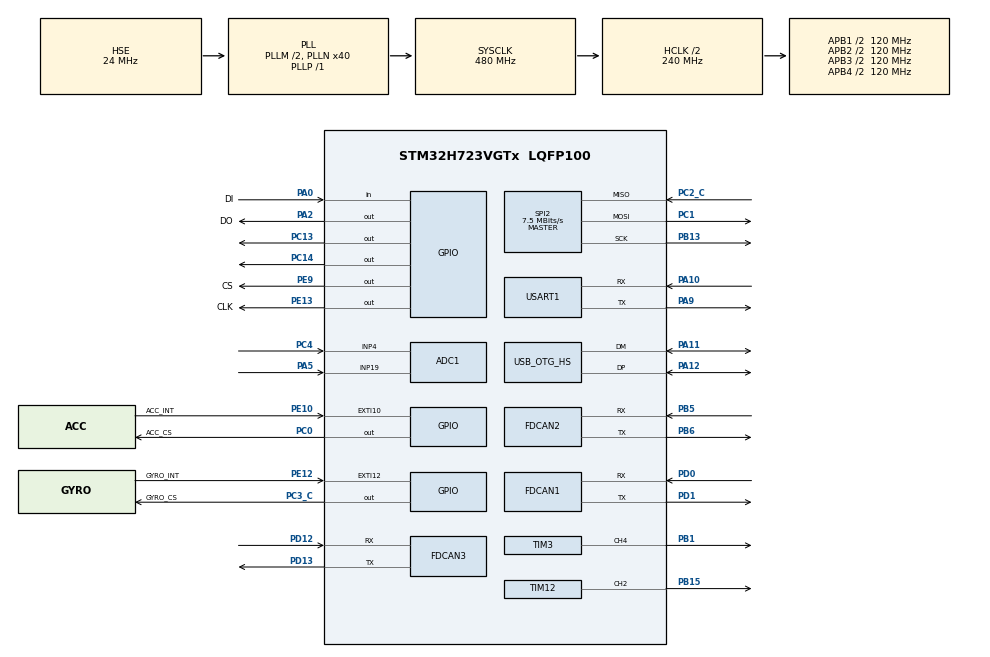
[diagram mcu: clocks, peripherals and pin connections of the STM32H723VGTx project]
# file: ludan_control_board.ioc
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ADC1.Channel-0\#ChannelRegularConversion=ADC_CHANNEL_19
ADC1.Channel-1\#ChannelRegularConversion=ADC_CHANNEL_4
ADC1.ClockPrescaler=ADC_CLOCK_ASYNC_DIV64
ADC1.ContinuousConvMode=ENABLE
ADC1.ConversionDataManagement=ADC_CONVERSIONDATA_DMA_CIRCULAR
ADC1.NbrOfConversion=2
ADC1.NbrOfConversionFlag=1
ADC1.OffsetNumber-0\#ChannelRegularConversion=ADC_OFFSET_NONE
ADC1.OffsetNumber-1\#ChannelRegularConversion=ADC_OFFSET_NONE
ADC1.OffsetSignedSaturation-0\#ChannelRegularConversion=DISABLE
ADC1.OffsetSignedSaturation-1\#ChannelRegularConversion=DISABLE
ADC1.Rank-0\#ChannelRegularConversion=1
ADC1.Rank-1\#ChannelRegularConversion=2
ADC1.SamplingTime-0\#ChannelRegularConversion=ADC_SAMPLETIME_1CYCLE_5
ADC1.SamplingTime-1\#ChannelRegularConversion=ADC_SAMPLETIME_1CYCLE_5
ADC1.master=1
Dma.ADC1.0.Direction=DMA_PERIPH_TO_MEMORY
Dma.ADC1.0.EventEnable=DISABLE
Dma.ADC1.0.FIFOMode=DMA_FIFOMODE_DISABLE
Dma.ADC1.0.Instance=DMA1_Stream4
Dma.ADC1.0.MemDataAlignment=DMA_MDATAALIGN_HALFWORD
Dma.ADC1.0.MemInc=DMA_MINC_ENABLE
Dma.ADC1.0.Mode=DMA_CIRCULAR
Dma.ADC1.0.PeriphDataAlignment=DMA_PDATAALIGN_HALFWORD
Dma.ADC1.0.PeriphInc=DMA_PINC_DISABLE
Dma.ADC1.0.Polarity=HAL_DMAMUX_REQ_GEN_RISING
Dma.ADC1.0.Priority=DMA_PRIORITY_LOW
Dma.ADC1.0.RequestNumber=1
Dma.ADC1.0.SignalID=NONE
Dma.ADC1.0.SyncEnable=DISABLE
Dma.ADC1.0.SyncPolarity=HAL_DMAMUX_SYNC_NO_EVENT
Dma.ADC1.0.SyncRequestNumber=1
Dma.ADC1.0.SyncSignalID=NONE
Dma.DMA_GENERATOR0.1.Direction=DMA_PERIPH_TO_MEMORY
Dma.DMA_GENERATOR0.1.EventEnable=DISABLE
Dma.DMA_GENERATOR0.1.FIFOMode=DMA_FIFOMODE_DISABLE
Dma.DMA_GENERATOR0.1.Instance=DMA1_Stream5
Dma.DMA_GENERATOR0.1.MemDataAlignment=DMA_MDATAALIGN_BYTE
Dma.DMA_GENERATOR0.1.MemInc=DMA_MINC_ENABLE
Dma.DMA_GENERATOR0.1.Mode=DMA_NORMAL
Dma.DMA_GENERATOR0.1.PeriphDataAlignment=DMA_PDATAALIGN_BYTE
Dma.DMA_GENERATOR0.1.PeriphInc=DMA_PINC_DISABLE
Dma.DMA_GENERATOR0.1.Polarity=HAL_DMAMUX_REQ_GEN_RISING
Dma.DMA_GENERATOR0.1.Priority=DMA_PRIORITY_VERY_HIGH
Dma.DMA_GENERATOR0.1.RequestNumber=1
Dma.DMA_GENERATOR0.1.SignalID=NONE
Dma.DMA_GENERATOR0.1.SyncEnable=DISABLE
Dma.DMA_GENERATOR0.1.SyncPolarity=HAL_DMAMUX_SYNC_NO_EVENT
Dma.DMA_GENERATOR0.1.SyncRequestNumber=1
Dma.DMA_GENERATOR0.1.SyncSignalID=NONE
Dma.Request0=ADC1
Dma.Request1=DMA_GENERATOR0
Dma.Request2=SPI2_RX
Dma.Request3=SPI2_TX
Dma.Request4=USART1_RX
Dma.Request5=USART1_TX
Dma.SPI2_RX.2.Direction=DMA_PERIPH_TO_MEMORY
Dma.SPI2_RX.2.EventEnable=DISABLE
Dma.SPI2_RX.2.FIFOMode=DMA_FIFOMODE_DISABLE
Dma.SPI2_RX.2.Instance=DMA1_Stream0
Dma.SPI2_RX.2.MemDataAlignment=DMA_MDATAALIGN_BYTE
Dma.SPI2_RX.2.MemInc=DMA_MINC_ENABLE
Dma.SPI2_RX.2.Mode=DMA_NORMAL
Dma.SPI2_RX.2.PeriphDataAlignment=DMA_PDATAALIGN_BYTE
Dma.SPI2_RX.2.PeriphInc=DMA_PINC_DISABLE
Dma.SPI2_RX.2.Polarity=HAL_DMAMUX_REQ_GEN_RISING
Dma.SPI2_RX.2.Priority=DMA_PRIORITY_VERY_HIGH
Dma.SPI2_RX.2.RequestNumber=1
Dma.SPI2_RX.2.SignalID=NONE
Dma.SPI2_RX.2.SyncEnable=DISABLE
Dma.SPI2_RX.2.SyncPolarity=HAL_DMAMUX_SYNC_NO_EVENT
Dma.SPI2_RX.2.SyncRequestNumber=1
Dma.SPI2_RX.2.SyncSignalID=NONE
Dma.SPI2_TX.3.Direction=DMA_MEMORY_TO_PERIPH
Dma.SPI2_TX.3.EventEnable=DISABLE
Dma.SPI2_TX.3.FIFOMode=DMA_FIFOMODE_DISABLE
Dma.SPI2_TX.3.Instance=DMA1_Stream1
Dma.SPI2_TX.3.MemDataAlignment=DMA_MDATAALIGN_BYTE
Dma.SPI2_TX.3.MemInc=DMA_MINC_ENABLE
Dma.SPI2_TX.3.Mode=DMA_NORMAL
Dma.SPI2_TX.3.PeriphDataAlignment=DMA_PDATAALIGN_BYTE
Dma.SPI2_TX.3.PeriphInc=DMA_PINC_DISABLE
Dma.SPI2_TX.3.Polarity=HAL_DMAMUX_REQ_GEN_RISING
Dma.SPI2_TX.3.Priority=DMA_PRIORITY_HIGH
Dma.SPI2_TX.3.RequestNumber=1
Dma.SPI2_TX.3.SignalID=NONE
Dma.SPI2_TX.3.SyncEnable=DISABLE
Dma.SPI2_TX.3.SyncPolarity=HAL_DMAMUX_SYNC_NO_EVENT
Dma.SPI2_TX.3.SyncRequestNumber=1
Dma.SPI2_TX.3.SyncSignalID=NONE
Dma.USART1_RX.4.Direction=DMA_PERIPH_TO_MEMORY
Dma.USART1_RX.4.EventEnable=DISABLE
Dma.USART1_RX.4.FIFOMode=DMA_FIFOMODE_DISABLE
Dma.USART1_RX.4.Instance=DMA1_Stream2
Dma.USART1_RX.4.MemDataAlignment=DMA_MDATAALIGN_BYTE
Dma.USART1_RX.4.MemInc=DMA_MINC_ENABLE
Dma.USART1_RX.4.Mode=DMA_NORMAL
Dma.USART1_RX.4.PeriphDataAlignment=DMA_PDATAALIGN_BYTE
Dma.USART1_RX.4.PeriphInc=DMA_PINC_DISABLE
Dma.USART1_RX.4.Polarity=HAL_DMAMUX_REQ_GEN_RISING
Dma.USART1_RX.4.Priority=DMA_PRIORITY_LOW
Dma.USART1_RX.4.RequestNumber=1
Dma.USART1_RX.4.SignalID=NONE
Dma.USART1_RX.4.SyncEnable=DISABLE
Dma.USART1_RX.4.SyncPolarity=HAL_DMAMUX_SYNC_NO_EVENT
Dma.USART1_RX.4.SyncRequestNumber=1
Dma.USART1_RX.4.SyncSignalID=NONE
Dma.USART1_TX.5.Direction=DMA_MEMORY_TO_PERIPH
Dma.USART1_TX.5.EventEnable=DISABLE
Dma.USART1_TX.5.FIFOMode=DMA_FIFOMODE_DISABLE
Dma.USART1_TX.5.Instance=DMA1_Stream3
Dma.USART1_TX.5.MemDataAlignment=DMA_MDATAALIGN_BYTE
Dma.USART1_TX.5.MemInc=DMA_MINC_ENABLE
Dma.USART1_TX.5.Mode=DMA_NORMAL
Dma.USART1_TX.5.PeriphDataAlignment=DMA_PDATAALIGN_BYTE
Dma.USART1_TX.5.PeriphInc=DMA_PINC_DISABLE
Dma.USART1_TX.5.Polarity=HAL_DMAMUX_REQ_GEN_RISING
Dma.USART1_TX.5.Priority=DMA_PRIORITY_LOW
Dma.USART1_TX.5.RequestNumber=1
Dma.USART1_TX.5.SignalID=NONE
Dma.USART1_TX.5.SyncEnable=DISABLE
Dma.USART1_TX.5.SyncPolarity=HAL_DMAMUX_SYNC_NO_EVENT
Dma.USART1_TX.5.SyncRequestNumber=1
Dma.USART1_TX.5.SyncSignalID=NONE
FDCAN1.AutoRetransmission=ENABLE
FDCAN1.CalculateBaudRateNominal=1000000
FDCAN1.CalculateTimeBitNominal=1000
FDCAN1.CalculateTimeQuantumNominal=12.5
FDCAN1.DataSyncJumpWidth=2
FDCAN1.DataTimeSeg1=13
FDCAN1.DataTimeSeg2=2
FDCAN1.ExtFiltersNbr=4
FDCAN1.FrameFormat=FDCAN_FRAME_FD_BRS
FDCAN1.NominalPrescaler=1
FDCAN1.NominalSyncJumpWidth=20
FDCAN1.NominalTimeSeg1=59
FDCAN1.NominalTimeSeg2=20
FDCAN1.ProtocolException=ENABLE
FDCAN1.RxFifo0ElmtsNbr=32
FDCAN1.StdFiltersNbr=4
FDCAN1.TxFifoQueueElmtsNbr=10
FDCAN2.AutoRetransmission=ENABLE
FDCAN2.CalculateBaudRateNominal=1000000
FDCAN2.CalculateTimeBitNominal=1000
FDCAN2.CalculateTimeQuantumNominal=12.5
FDCAN2.DataSyncJumpWidth=2
FDCAN2.DataTimeSeg1=13
FDCAN2.DataTimeSeg2=2
FDCAN2.ExtFiltersNbr=5
FDCAN2.FrameFormat=FDCAN_FRAME_FD_BRS
FDCAN2.MessageRAMOffset=854
FDCAN2.NominalPrescaler=1
FDCAN2.NominalSyncJumpWidth=20
FDCAN2.NominalTimeSeg1=59
FDCAN2.NominalTimeSeg2=20
FDCAN2.ProtocolException=ENABLE
FDCAN2.RxFifo1ElmtsNbr=32
FDCAN2.StdFiltersNbr=5
FDCAN2.TxFifoQueueElmtsNbr=10
FDCAN3.AutoRetransmission=ENABLE
FDCAN3.CalculateBaudRateNominal=1000000
FDCAN3.CalculateTimeBitNominal=1000
FDCAN3.CalculateTimeQuantumNominal=12.5
FDCAN3.DataSyncJumpWidth=2
FDCAN3.DataTimeSeg1=13
FDCAN3.DataTimeSeg2=2
FDCAN3.ExtFiltersNbr=5
FDCAN3.FrameFormat=FDCAN_FRAME_FD_BRS
FDCAN3.MessageRAMOffset=1709
FDCAN3.NominalPrescaler=1
FDCAN3.NominalSyncJumpWidth=20
FDCAN3.NominalTimeSeg1=59
FDCAN3.NominalTimeSeg2=20
FDCAN3.ProtocolException=ENABLE
FDCAN3.RxFifo0ElmtsNbr=10
FDCAN3.StdFiltersNbr=5
FDCAN3.TxFifoQueueElmtsNbr=12
FREERTOS.MEMORY_ALLOCATION=0
FREERTOS.Tasks01=defaultTask,24,512,StartDefaultTask,Default,NULL,Dynamic,NULL,NULL;FDCAN1_TASK,40,512,fdcan1_task,Default,NULL,Dynamic,NULL,NULL;OBSERVE_TASK,40,512,observe_task,Default,NULL,Dynamic,NULL,NULL;FDCAN2_TASK,40,512,fdcan2_task,Default,NULL,Dynamic,NULL,NULL;VBUS_CHECK_TASK,24,512,VBUS_CheckTask,Default,NULL,Dynamic,NULL,NULL;MOTOR_CMD_TASK,40,512,motor_cmd_task,Default,NULL,Dynamic,NULL,NULL
FREERTOS.configENABLE_FPU=1
FREERTOS.configTOTAL_HEAP_SIZE=30720
FREERTOS.configUSE_NEWLIB_REENTRANT=1
Mcu.Family=STM32H7
Mcu.Name=STM32H723VGTx
Mcu.Package=LQFP100
NVIC.DMA1_Stream0_IRQn=true\:5\:0\:false\:false\:true\:true\:false\:true\:true
NVIC.DMA1_Stream1_IRQn=true\:5\:0\:false\:false\:true\:true\:false\:true\:true
NVIC.DMA1_Stream2_IRQn=true\:5\:0\:false\:false\:true\:true\:false\:true\:true
NVIC.DMA1_Stream3_IRQn=true\:5\:0\:false\:false\:true\:true\:false\:true\:true
NVIC.DMA1_Stream4_IRQn=true\:5\:0\:false\:false\:true\:true\:false\:true\:true
NVIC.DMA1_Stream5_IRQn=true\:5\:0\:false\:false\:true\:true\:false\:true\:true
NVIC.DMAMUX1_OVR_IRQn=true\:5\:0\:false\:false\:true\:true\:false\:true\:true
NVIC.FDCAN1_IT0_IRQn=true\:5\:0\:true\:false\:true\:true\:true\:true\:true
NVIC.FDCAN2_IT0_IRQn=true\:5\:0\:false\:false\:true\:true\:true\:true\:true
NVIC.OTG_HS_IRQn=true\:5\:0\:false\:false\:true\:true\:true\:true\:true
NVIC.PriorityGroup=NVIC_PRIORITYGROUP_4
NVIC.SPI2_IRQn=true\:5\:0\:false\:false\:true\:true\:true\:true\:true
NVIC.TIM2_IRQn=true\:15\:0\:false\:false\:true\:false\:false\:true\:true
NVIC.TimeBase=TIM2_IRQn
NVIC.TimeBaseIP=TIM2
PA0.GPIO_Label=DI
PA0.GPIO_PuPd=GPIO_PULLUP
PA0.Signal=GPIO_Input
PA10.Mode=Asynchronous
PA10.Signal=USART1_RX
PA11.Mode=Device_Only_FS
PA11.Signal=USB_OTG_HS_DM
PA12.Mode=Device_Only_FS
PA12.Signal=USB_OTG_HS_DP
PA13(JTMS/SWDIO).Mode=Serial_Wire
PA13(JTMS/SWDIO).Signal=DEBUG_JTMS-SWDIO
PA14(JTCK/SWCLK).Mode=Serial_Wire
PA14(JTCK/SWCLK).Signal=DEBUG_JTCK-SWCLK
PA2.GPIO_Label=DO
PA2.GPIO_PuPd=GPIO_PULLUP
PA2.GPIO_Speed=GPIO_SPEED_FREQ_VERY_HIGH
PA2.PinState=GPIO_PIN_SET
PA2.Signal=GPIO_Output
PA5.Signal=ADCx_INP19
PA9.Mode=Asynchronous
PA9.Signal=USART1_TX
PB1.Signal=S_TIM3_CH4
PB13.GPIO_Speed=GPIO_SPEED_FREQ_VERY_HIGH
PB13.Mode=Full_Duplex_Master
PB13.Signal=SPI2_SCK
PB15.Signal=S_TIM12_CH2
PB5.Mode=FDCAN_Activate
PB5.Signal=FDCAN2_RX
PB6.Mode=FDCAN_Activate
PB6.Signal=FDCAN2_TX
PC0.GPIO_Label=ACC_CS
PC0.GPIO_Speed=GPIO_SPEED_FREQ_VERY_HIGH
PC0.PinState=GPIO_PIN_SET
PC0.Signal=GPIO_Output
PC1.GPIO_Speed=GPIO_SPEED_FREQ_VERY_HIGH
PC1.Mode=Full_Duplex_Master
PC1.Signal=SPI2_MOSI
PC13.Signal=GPIO_Output
PC14-OSC32_IN.Signal=GPIO_Output
PC2_C.GPIO_Speed=GPIO_SPEED_FREQ_VERY_HIGH
PC2_C.Mode=Full_Duplex_Master
PC2_C.Signal=SPI2_MISO
PC3_C.GPIO_Label=GYRO_CS
PC3_C.GPIO_Speed=GPIO_SPEED_FREQ_VERY_HIGH
PC3_C.PinState=GPIO_PIN_SET
PC3_C.Signal=GPIO_Output
PC4.Signal=ADCx_INP4
PD0.Mode=FDCAN_Activate
PD0.Signal=FDCAN1_RX
PD1.Mode=FDCAN_Activate
PD1.Signal=FDCAN1_TX
PD12.Mode=FDCAN_Activate
PD12.Signal=FDCAN3_RX
PD13.Mode=FDCAN_Activate
PD13.Signal=FDCAN3_TX
PE10.GPIO_Label=ACC_INT
PE10.Signal=GPXTI10
PE12.GPIO_Label=GYRO_INT
PE12.Signal=GPXTI12
PE13.GPIO_Label=CLK
PE13.GPIO_PuPd=GPIO_PULLUP
PE13.GPIO_Speed=GPIO_SPEED_FREQ_VERY_HIGH
PE13.PinState=GPIO_PIN_SET
PE13.Signal=GPIO_Output
PE9.GPIO_Label=CS
PE9.GPIO_PuPd=GPIO_PULLUP
PE9.GPIO_Speed=GPIO_SPEED_FREQ_VERY_HIGH
PE9.PinState=GPIO_PIN_SET
PE9.Signal=GPIO_Output
PH0-OSC_IN.Mode=HSE-External-Oscillator
PH0-OSC_IN.Signal=RCC_OSC_IN
PH1-OSC_OUT.Mode=HSE-External-Oscillator
PH1-OSC_OUT.Signal=RCC_OSC_OUT
ProjectManager.HeapSize=0x200
ProjectManager.StackSize=0x800
ProjectManager.TargetToolchain=Makefile
RCC.ADCCLockSelection=RCC_ADCCLKSOURCE_PLL3
RCC.ADCFreq_Value=100000000
RCC.APB1Freq_Value=120000000
RCC.APB2Freq_Value=120000000
RCC.APB3Freq_Value=120000000
RCC.APB4Freq_Value=120000000
RCC.CortexFreq_Value=480000000
RCC.D1PPRE=RCC_APB3_DIV2
RCC.D2PPRE1=RCC_APB1_DIV2
RCC.D2PPRE2=RCC_APB2_DIV2
RCC.D3PPRE=RCC_APB4_DIV2
RCC.DIVM1=2
RCC.DIVM2=2
RCC.DIVM3=2
RCC.DIVN1=40
RCC.DIVN2=40
RCC.DIVN3=25
RCC.DIVP1=1
RCC.DIVQ2=6
RCC.DIVQ3=1
RCC.DIVR3=3
RCC.FDCANCLockSelection=RCC_FDCANCLKSOURCE_PLL2
RCC.HCLKFreq_Value=240000000
RCC.HPRE=RCC_HCLK_DIV2
RCC.HSE_VALUE=24000000
RCC.PLL2FRACN=0
RCC.PLL3FRACN=0
RCC.PLLFRACN=0
RCC.PLLSourceVirtual=RCC_PLLSOURCE_HSE
RCC.SYSCLKFreq_VALUE=480000000
RCC.SYSCLKSource=RCC_SYSCLKSOURCE_PLLCLK
RCC.USBCLockSelection=RCC_USBCLKSOURCE_HSI48
RCC.USBFreq_Value=48000000
SH.ADCx_INP19.0=ADC1_INP19,IN19-Single-Ended
SH.ADCx_INP4.0=ADC1_INP4,IN4-Single-Ended
SH.S_TIM12_CH2.0=TIM12_CH2,PWM Generation2 CH2
SH.S_TIM3_CH4.0=TIM3_CH4,PWM Generation4 CH4
SPI2.BaudRatePrescaler=SPI_BAUDRATEPRESCALER_32
SPI2.CLKPhase=SPI_PHASE_2EDGE
SPI2.CLKPolarity=SPI_POLARITY_HIGH
SPI2.CalculateBaudRate=7.5 MBits/s
SPI2.DataSize=SPI_DATASIZE_8BIT
SPI2.Direction=SPI_DIRECTION_2LINES
SPI2.Mode=SPI_MODE_MASTER
SPI2.VirtualType=VM_MASTER
TIM12.Channel-PWM\ Generation2\ CH2=TIM_CHANNEL_2
TIM12.Period=2000-1
TIM12.Prescaler=24-1
TIM12.Pulse-PWM\ Generation2\ CH2=1000
TIM3.Channel-PWM\ Generation4\ CH4=TIM_CHANNEL_4
USART1.VirtualMode-Asynchronous=VM_ASYNC
USB_DEVICE.CLASS_NAME_HS=CDC
USB_DEVICE.VirtualMode=Cdc
USB_DEVICE.VirtualModeHS=Cdc_HS
USB_OTG_HS.VirtualMode-Device_Only_FS=Device_Only_FS
VP_FREERTOS_VS_CMSIS_V2.Mode=CMSIS_V2
VP_MEMORYMAP_VS_MEMORYMAP.Mode=CurAppReg
VP_SYS_VS_tim2.Mode=TIM2
VP_USB_DEVICE_VS_USB_DEVICE_CDC_HS.Mode=CDC_HS
board=custom

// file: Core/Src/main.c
/* USER CODE BEGIN Header */
/**
 ******************************************************************************
 * @file           : main.c
 * @brief          : Main program body
 ******************************************************************************
 * @attention
 *
 * Copyright (c) 2025 STMicroelectronics.
 * All rights reserved.
 *
 * This software is licensed under terms that can be found in the LICENSE file
 * in the root directory of this software component.
 * If no LICENSE file comes with this software, it is provided AS-IS.
 *
 ******************************************************************************
 */
/* USER CODE END Header */
#include "main.h"
#include "cmsis_os.h"
#include "adc.h"
#include "dma.h"
#include "fdcan.h"
#include "spi.h"
#include "tim.h"
#include "usart.h"
#include "usb_device.h"
#include "gpio.h"

/* USER CODE BEGIN Includes */
#include "bsp_dwt.h"
#include "bsp_usart1.h"
#include "can_bsp.h"

extern rev_data_t rev_data;

/* USER CODE END Includes */

void SystemClock_Config(void);
void PeriphCommonClock_Config(void);
void MX_FREERTOS_Init(void);

int main(void)
{

  /* MCU Configuration--------------------------------------------------------*/

  /* Reset of all peripherals, Initializes the Flash interface and the Systick. */
  HAL_Init();

  /* Configure the system clock */
  SystemClock_Config();

  /* Configure the peripherals common clocks */
  PeriphCommonClock_Config();

  /* Initialize all configured peripherals */
  MX_GPIO_Init();
  MX_DMA_Init();
  MX_SPI2_Init();
  MX_TIM3_Init();
  MX_FDCAN3_Init();
  MX_USART1_UART_Init();
  MX_FDCAN1_Init();
  MX_FDCAN2_Init();
  MX_ADC1_Init();
  MX_TIM12_Init();
  /* USER CODE BEGIN 2 */
  Buzzer_OFF();
  DWT_Init(480);
  HAL_TIM_Base_Start_IT(&htim3);
  // Buzzer_ON();
  // HAL_Delay(100);
  // Buzzer_OFF();
  /*打开供电开关*/
  Power_OUT1_ON();
  Power_OUT2_ON();

  FDCAN1_Config();
  FDCAN2_Config();
  /* USER CODE END 2 */

  /* Init scheduler */
  osKernelInitialize();  /* Call init function for freertos objects (in cmsis_os2.c) */
  MX_FREERTOS_Init();

  /* Start scheduler */
  osKernelStart();

  /* We should never get here as control is now taken by the scheduler */

  /* Infinite loop */
  while (1) {

  }
}

void SystemClock_Config(void)
{
  RCC_OscInitTypeDef RCC_OscInitStruct = {0};
  RCC_ClkInitTypeDef RCC_ClkInitStruct = {0};

  /** Supply configuration update enable
  */
  HAL_PWREx_ConfigSupply(PWR_LDO_SUPPLY);

  /** Configure the main internal regulator output voltage
  */
  __HAL_PWR_VOLTAGESCALING_CONFIG(PWR_REGULATOR_VOLTAGE_SCALE0);

  while(!__HAL_PWR_GET_FLAG(PWR_FLAG_VOSRDY)) {}

  /** Initializes the RCC Oscillators according to the specified parameters
  * in the RCC_OscInitTypeDef structure.
  */
  RCC_OscInitStruct.OscillatorType = RCC_OSCILLATORTYPE_HSI48|RCC_OSCILLATORTYPE_HSE;
  RCC_OscInitStruct.HSEState = RCC_HSE_ON;
  RCC_OscInitStruct.HSI48State = RCC_HSI48_ON;
  RCC_OscInitStruct.PLL.PLLState = RCC_PLL_ON;
  RCC_OscInitStruct.PLL.PLLSource = RCC_PLLSOURCE_HSE;
  RCC_OscInitStruct.PLL.PLLM = 2;
  RCC_OscInitStruct.PLL.PLLN = 40;
  RCC_OscInitStruct.PLL.PLLP = 1;
  RCC_OscInitStruct.PLL.PLLQ = 2;
  RCC_OscInitStruct.PLL.PLLR = 2;
  RCC_OscInitStruct.PLL.PLLRGE = RCC_PLL1VCIRANGE_3;
  RCC_OscInitStruct.PLL.PLLVCOSEL = RCC_PLL1VCOWIDE;
  RCC_OscInitStruct.PLL.PLLFRACN = 0;
  if (HAL_RCC_OscConfig(&RCC_OscInitStruct) != HAL_OK)
  {
    Error_Handler();
  }

  /** Initializes the CPU, AHB and APB buses clocks
  */
  RCC_ClkInitStruct.ClockType = RCC_CLOCKTYPE_HCLK|RCC_CLOCKTYPE_SYSCLK
                              |RCC_CLOCKTYPE_PCLK1|RCC_CLOCKTYPE_PCLK2
                              |RCC_CLOCKTYPE_D3PCLK1|RCC_CLOCKTYPE_D1PCLK1;
  RCC_ClkInitStruct.SYSCLKSource = RCC_SYSCLKSOURCE_PLLCLK;
  RCC_ClkInitStruct.SYSCLKDivider = RCC_SYSCLK_DIV1;
  RCC_ClkInitStruct.AHBCLKDivider = RCC_HCLK_DIV2;
  RCC_ClkInitStruct.APB3CLKDivider = RCC_APB3_DIV2;
  RCC_ClkInitStruct.APB1CLKDivider = RCC_APB1_DIV2;
  RCC_ClkInitStruct.APB2CLKDivider = RCC_APB2_DIV2;
  RCC_ClkInitStruct.APB4CLKDivider = RCC_APB4_DIV2;

  if (HAL_RCC_ClockConfig(&RCC_ClkInitStruct, FLASH_LATENCY_3) != HAL_OK)
  {
    Error_Handler();
  }
}

void PeriphCommonClock_Config(void)
{
  RCC_PeriphCLKInitTypeDef PeriphClkInitStruct = {0};

  /** Initializes the peripherals clock
  */
  PeriphClkInitStruct.PeriphClockSelection = RCC_PERIPHCLK_FDCAN;
  PeriphClkInitStruct.PLL2.PLL2M = 2;
  PeriphClkInitStruct.PLL2.PLL2N = 40;
  PeriphClkInitStruct.PLL2.PLL2P = 2;
  PeriphClkInitStruct.PLL2.PLL2Q = 6;
  PeriphClkInitStruct.PLL2.PLL2R = 2;
  PeriphClkInitStruct.PLL2.PLL2RGE = RCC_PLL2VCIRANGE_3;
  PeriphClkInitStruct.PLL2.PLL2VCOSEL = RCC_PLL2VCOWIDE;
  PeriphClkInitStruct.PLL2.PLL2FRACN = 0;
  PeriphClkInitStruct.FdcanClockSelection = RCC_FDCANCLKSOURCE_PLL2;
  if (HAL_RCCEx_PeriphCLKConfig(&PeriphClkInitStruct) != HAL_OK)
  {
    Error_Handler();
  }
}

void HAL_TIM_PeriodElapsedCallback(TIM_HandleTypeDef *htim)
{
  if (htim->Instance == TIM2)
  {
    HAL_IncTick();
  }
}

void Error_Handler(void)
{
  __disable_irq();
  while (1) {
  }
}
#ifdef USE_FULL_ASSERT
/**
  * @brief  Reports the name of the source file and the source line number
  *         where the assert_param error has occurred.
  * @param  file: pointer to the source file name
  * @param  line: assert_param error line source number
  * @retval None
  */
void assert_failed(uint8_t *file, uint32_t line)
{
  /* USER CODE BEGIN 6 */
  /* User can add his own implementation to report the file name and line
     number, ex: printf("Wrong parameters value: file %s on line %d\r\n", file,
     line) */
  /* USER CODE END 6 */
}
#endif /* USE_FULL_ASSERT */

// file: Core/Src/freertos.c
/* USER CODE BEGIN Header */
/**
 ******************************************************************************
 * File Name          : freertos.c
 * Description        : Code for freertos applications
 ******************************************************************************
 * @attention
 *
 * Copyright (c) 2025 STMicroelectronics.
 * All rights reserved.
 *
 * This software is licensed under terms that can be found in the LICENSE file
 * in the root directory of this software component.
 * If no LICENSE file comes with this software, it is provided AS-IS.
 *
 ******************************************************************************
 */
/* USER CODE END Header */

#include "FreeRTOS.h"
#include "cmsis_os.h"
#include "main.h"
#include "task.h"

/* USER CODE BEGIN Includes */

#include "fdcan1_task.h"
#include "fdcan2_task.h"
#include "gpio.h"
#include "motor_cmd.h"
#include "observe_task.h"
#include "tim.h"
#include "vbus_check.h"
#include <stdio.h>

/* USER CODE END Includes */

/* Definitions for defaultTask */
osThreadId_t defaultTaskHandle;
const osThreadAttr_t defaultTask_attributes = {
    .name = "defaultTask",
    .stack_size = 512 * 4,
    .priority = (osPriority_t)osPriorityNormal,
};
/* Definitions for FDCAN1_TASK */
osThreadId_t FDCAN1_TASKHandle;
const osThreadAttr_t FDCAN1_TASK_attributes = {
    .name = "FDCAN1_TASK",
    .stack_size = 512 * 4,
    .priority = (osPriority_t)osPriorityHigh,
};
/* Definitions for OBSERVE_TASK */
osThreadId_t OBSERVE_TASKHandle;
const osThreadAttr_t OBSERVE_TASK_attributes = {
    .name = "OBSERVE_TASK",
    .stack_size = 512 * 4,
    .priority = (osPriority_t)osPriorityHigh,
};
/* Definitions for FDCAN2_TASK */
osThreadId_t FDCAN2_TASKHandle;
const osThreadAttr_t FDCAN2_TASK_attributes = {
    .name = "FDCAN2_TASK",
    .stack_size = 512 * 4,
    .priority = (osPriority_t)osPriorityHigh,
};
/* Definitions for VBUS_CHECK_TASK */
osThreadId_t VBUS_CHECK_TASKHandle;
const osThreadAttr_t VBUS_CHECK_TASK_attributes = {
    .name = "VBUS_CHECK_TASK",
    .stack_size = 512 * 4,
    .priority = (osPriority_t)osPriorityNormal,
};
/* Definitions for MOTOR_CMD_TASK */
osThreadId_t MOTOR_CMD_TASKHandle;
const osThreadAttr_t MOTOR_CMD_TASK_attributes = {
    .name = "MOTOR_CMD_TASK",
    .stack_size = 512 * 4,
    .priority = (osPriority_t)osPriorityHigh,
};
/* Definitions for motor_cmd_queue */
osMessageQueueId_t motor_cmd_queue;
const osMessageQueueAttr_t motor_cmd_queue_attributes = {.name =
                                                             "motor_cmd_queue"};

void StartDefaultTask(void *argument);
void fdcan1_task(void *argument);
void observe_task(void *argument);
void fdcan2_task(void *argument);
void VBUS_CheckTask(void *argument);
void motor_cmd_task(void *argument);

extern void MX_USB_DEVICE_Init(void);
void MX_FREERTOS_Init(void); /* (MISRA C 2004 rule 8.1) */

void MX_FREERTOS_Init(void) {

  /* USER CODE BEGIN RTOS_QUEUES */
  /* Create motor command queue (8 messages, 16 bytes each) */
  motor_cmd_queue = osMessageQueueNew(8, 16, &motor_cmd_queue_attributes);
  /* USER CODE END RTOS_QUEUES */

  /* Create the thread(s) */
  /* creation of defaultTask */
  defaultTaskHandle =
      osThreadNew(StartDefaultTask, NULL, &defaultTask_attributes);

  /* creation of FDCAN1_TASK */
  FDCAN1_TASKHandle = osThreadNew(fdcan1_task, NULL, &FDCAN1_TASK_attributes);

  /* creation of OBSERVE_TASK */
  OBSERVE_TASKHandle =
      osThreadNew(observe_task, NULL, &OBSERVE_TASK_attributes);

  /* creation of FDCAN2_TASK */
  FDCAN2_TASKHandle = osThreadNew(fdcan2_task, NULL, &FDCAN2_TASK_attributes);

  /* creation of VBUS_CHECK_TASK */
  VBUS_CHECK_TASKHandle =
      osThreadNew(VBUS_CheckTask, NULL, &VBUS_CHECK_TASK_attributes);

  /* creation of MOTOR_CMD_TASK */
  MOTOR_CMD_TASKHandle =
      osThreadNew(motor_cmd_task, NULL, &MOTOR_CMD_TASK_attributes);

}

void StartDefaultTask(void *argument) {
  /* init code for USB_DEVICE */
  MX_USB_DEVICE_Init();
  for (;;) {
    osDelay(1);
  }
}

void fdcan1_task(void *argument) {
  /* USER CODE BEGIN fdcan1_task */
  /* Infinite loop */
  for (;;) {
    fdcan1_task_();
  }
  /* USER CODE END fdcan1_task */
}

void observe_task(void *argument) {
  /* USER CODE BEGIN observe_task */
  /* Infinite loop */
  for (;;) {
    observe_task_();
  }
  /* USER CODE END observe_task */
}

void fdcan2_task(void *argument) {
  /* USER CODE BEGIN fdcan2_task */
  /* Infinite loop */
  for (;;) {
    fdcan2_task_();
  }
  /* USER CODE END fdcan2_task */
}

void VBUS_CheckTask(void *argument) {
  /* USER CODE BEGIN VBUS_CheckTask */
  /* Infinite loop */
  for (;;) {
    VBUS_Check_task();
  }
  /* USER CODE END VBUS_CheckTask */
}

void motor_cmd_task(void *argument) {
  /* USER CODE BEGIN motor_cmd_task */
  /* Infinite loop */
  for (;;) {
    motor_cmd_task_();
  }
  /* USER CODE END motor_cmd_task */
}
